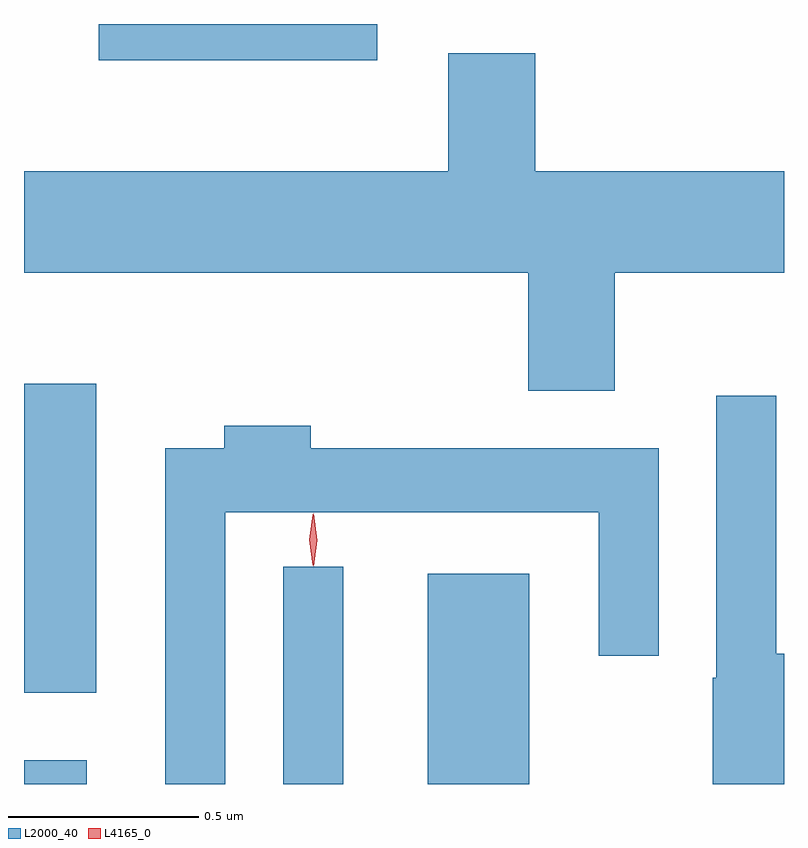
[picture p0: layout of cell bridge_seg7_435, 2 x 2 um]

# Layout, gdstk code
import gdstk
lib = gdstk.Library(unit=1e-6, precision=1e-09)
def R(c, l, rs):  # rectangles x0, y0, x1, y1
    for r in rs: c.add(gdstk.rectangle(r[:2], r[2:], *l))
def P(c, l, *ps):  # polygons
    for p in ps: c.add(gdstk.Polygon(p, *l))
L2000_40 = (2000, 40)
L4165_0 = (4165, 0)

bridge_seg7_435 = lib.new_cell('bridge_seg7_435')
R(bridge_seg7_435, L2000_40, [(1156.954,1719.631,1157.119,1719.694), (1157.636,1719.631,1157.794,1720.203), (1158.016,1719.631,1158.284,1720.184), (1156.954,1719.871,1157.144,1720.684), (1157.151,1721.536,1157.884,1721.631)])
P(bridge_seg7_435, L2000_40, [(1158.509,1720.976),(1158.954,1720.976),(1158.954,1721.244),(1158.299,1721.244),(1158.299,1721.554),(1158.071,1721.554),(1158.071,1721.244),(1156.954,1721.244),(1156.954,1720.976),(1158.281,1720.976),(1158.281,1720.666),(1158.509,1720.666)],
  [(1158.954,1719.974),(1158.934,1719.974),(1158.934,1720.653),(1158.776,1720.653),(1158.776,1719.91),(1158.766,1719.91),(1158.766,1719.631),(1158.954,1719.631)],
  [(1157.484,1720.346),(1158.466,1720.346),(1158.466,1719.968),(1158.624,1719.968),(1158.624,1720.514),(1157.709,1720.514),(1157.709,1720.574),(1157.481,1720.574),(1157.481,1720.514),(1157.326,1720.514),(1157.326,1719.631),(1157.484,1719.631)])
P(bridge_seg7_435, L4165_0, [(1157.714,1720.207),(1157.714,1720.207),(1157.704,1720.274),(1157.714,1720.34),(1157.714,1720.341),(1157.715,1720.34),(1157.724,1720.274),(1157.715,1720.207)],
  [(1157.716,1720.204),(1157.716,1720.204),(1157.706,1720.273),(1157.716,1720.342),(1157.716,1720.343),(1157.717,1720.342),(1157.726,1720.273),(1157.717,1720.204)])

lib.write_gds('bridge_seg7_435.gds')
